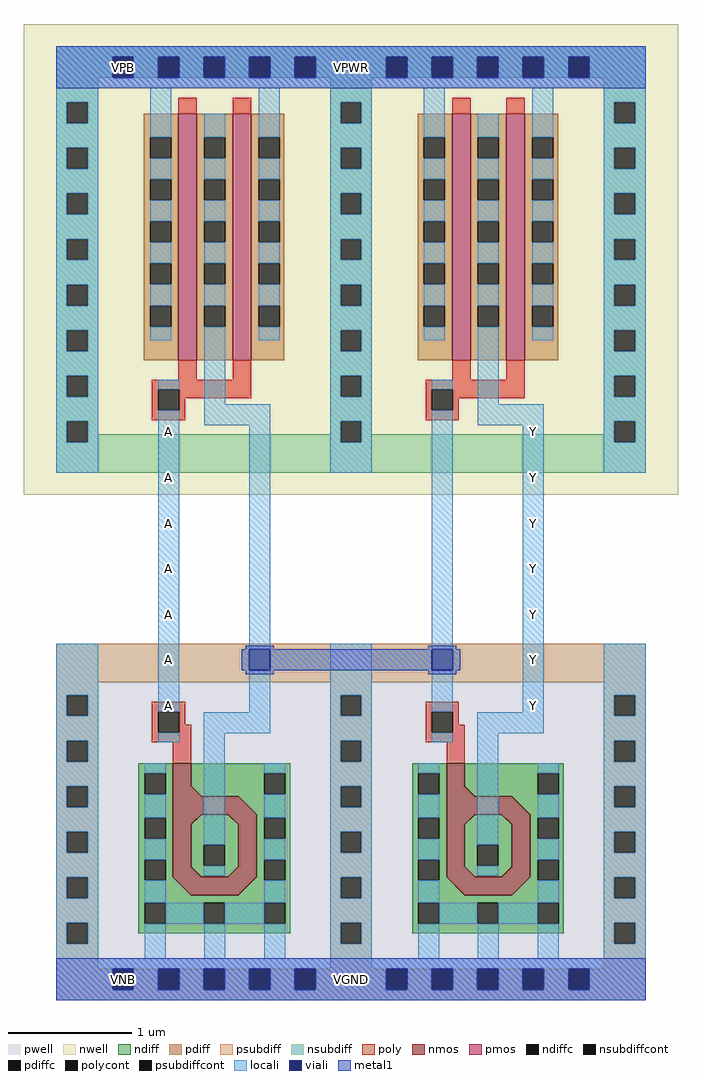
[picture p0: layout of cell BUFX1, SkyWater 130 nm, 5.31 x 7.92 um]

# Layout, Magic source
magic
tech sky130A
magscale 1 2
<< nwell >>
rect -87 786 975 1550
<< pwell >>
rect -34 -34 922 544
<< nmos >>
rect 155 297 185 350
tri 185 297 201 313 sw
rect 155 267 261 297
tri 261 267 291 297 sw
rect 155 166 185 267
tri 185 251 201 267 nw
tri 245 251 261 267 ne
tri 185 166 201 182 sw
tri 245 166 261 182 se
rect 261 166 291 267
tri 155 136 185 166 ne
rect 185 136 261 166
tri 261 136 291 166 nw
rect 599 297 629 350
tri 629 297 645 313 sw
rect 599 267 705 297
tri 705 267 735 297 sw
rect 599 166 629 267
tri 629 251 645 267 nw
tri 689 251 705 267 ne
tri 629 166 645 182 sw
tri 689 166 705 182 se
rect 705 166 735 267
tri 599 136 629 166 ne
rect 629 136 705 166
tri 705 136 735 166 nw
<< pmos >>
rect 164 1004 194 1404
rect 252 1004 282 1404
rect 608 1004 638 1404
rect 696 1004 726 1404
<< ndiff >>
rect 99 334 155 350
rect 99 300 109 334
rect 143 300 155 334
rect 99 262 155 300
rect 185 334 345 350
rect 185 313 303 334
tri 185 297 201 313 ne
rect 201 300 303 313
rect 337 300 345 334
rect 201 297 345 300
tri 261 267 291 297 ne
rect 99 228 109 262
rect 143 228 155 262
rect 99 194 155 228
rect 99 160 109 194
rect 143 160 155 194
tri 185 251 201 267 se
rect 201 251 245 267
tri 245 251 261 267 sw
rect 185 218 261 251
rect 185 184 205 218
rect 239 184 261 218
rect 185 182 261 184
tri 185 166 201 182 ne
rect 201 166 245 182
tri 245 166 261 182 nw
rect 291 262 345 297
rect 291 228 303 262
rect 337 228 345 262
rect 291 194 345 228
rect 99 136 155 160
tri 155 136 185 166 sw
tri 261 136 291 166 se
rect 291 160 303 194
rect 337 160 345 194
rect 291 136 345 160
rect 99 124 345 136
rect 99 90 109 124
rect 143 90 205 124
rect 239 90 303 124
rect 337 90 345 124
rect 99 74 345 90
rect 543 334 599 350
rect 543 300 553 334
rect 587 300 599 334
rect 543 262 599 300
rect 629 334 789 350
rect 629 313 747 334
tri 629 297 645 313 ne
rect 645 300 747 313
rect 781 300 789 334
rect 645 297 789 300
tri 705 267 735 297 ne
rect 543 228 553 262
rect 587 228 599 262
rect 543 194 599 228
rect 543 160 553 194
rect 587 160 599 194
tri 629 251 645 267 se
rect 645 251 689 267
tri 689 251 705 267 sw
rect 629 218 705 251
rect 629 184 649 218
rect 683 184 705 218
rect 629 182 705 184
tri 629 166 645 182 ne
rect 645 166 689 182
tri 689 166 705 182 nw
rect 735 262 789 297
rect 735 228 747 262
rect 781 228 789 262
rect 735 194 789 228
rect 543 136 599 160
tri 599 136 629 166 sw
tri 705 136 735 166 se
rect 735 160 747 194
rect 781 160 789 194
rect 735 136 789 160
rect 543 124 789 136
rect 543 90 553 124
rect 587 90 649 124
rect 683 90 747 124
rect 781 90 789 124
rect 543 74 789 90
<< pdiff >>
rect 108 1366 164 1404
rect 108 1332 118 1366
rect 152 1332 164 1366
rect 108 1298 164 1332
rect 108 1264 118 1298
rect 152 1264 164 1298
rect 108 1230 164 1264
rect 108 1196 118 1230
rect 152 1196 164 1230
rect 108 1162 164 1196
rect 108 1128 118 1162
rect 152 1128 164 1162
rect 108 1093 164 1128
rect 108 1059 118 1093
rect 152 1059 164 1093
rect 108 1004 164 1059
rect 194 1366 252 1404
rect 194 1332 206 1366
rect 240 1332 252 1366
rect 194 1298 252 1332
rect 194 1264 206 1298
rect 240 1264 252 1298
rect 194 1230 252 1264
rect 194 1196 206 1230
rect 240 1196 252 1230
rect 194 1162 252 1196
rect 194 1128 206 1162
rect 240 1128 252 1162
rect 194 1093 252 1128
rect 194 1059 206 1093
rect 240 1059 252 1093
rect 194 1004 252 1059
rect 282 1366 336 1404
rect 282 1332 294 1366
rect 328 1332 336 1366
rect 282 1298 336 1332
rect 282 1264 294 1298
rect 328 1264 336 1298
rect 282 1230 336 1264
rect 282 1196 294 1230
rect 328 1196 336 1230
rect 282 1162 336 1196
rect 282 1128 294 1162
rect 328 1128 336 1162
rect 282 1093 336 1128
rect 282 1059 294 1093
rect 328 1059 336 1093
rect 282 1004 336 1059
rect 552 1366 608 1404
rect 552 1332 562 1366
rect 596 1332 608 1366
rect 552 1298 608 1332
rect 552 1264 562 1298
rect 596 1264 608 1298
rect 552 1230 608 1264
rect 552 1196 562 1230
rect 596 1196 608 1230
rect 552 1162 608 1196
rect 552 1128 562 1162
rect 596 1128 608 1162
rect 552 1093 608 1128
rect 552 1059 562 1093
rect 596 1059 608 1093
rect 552 1004 608 1059
rect 638 1366 696 1404
rect 638 1332 650 1366
rect 684 1332 696 1366
rect 638 1298 696 1332
rect 638 1264 650 1298
rect 684 1264 696 1298
rect 638 1230 696 1264
rect 638 1196 650 1230
rect 684 1196 696 1230
rect 638 1162 696 1196
rect 638 1128 650 1162
rect 684 1128 696 1162
rect 638 1093 696 1128
rect 638 1059 650 1093
rect 684 1059 696 1093
rect 638 1004 696 1059
rect 726 1366 780 1404
rect 726 1332 738 1366
rect 772 1332 780 1366
rect 726 1298 780 1332
rect 726 1264 738 1298
rect 772 1264 780 1298
rect 726 1230 780 1264
rect 726 1196 738 1230
rect 772 1196 780 1230
rect 726 1162 780 1196
rect 726 1128 738 1162
rect 772 1128 780 1162
rect 726 1093 780 1128
rect 726 1059 738 1093
rect 772 1059 780 1093
rect 726 1004 780 1059
<< ndiffc >>
rect 109 300 143 334
rect 303 300 337 334
rect 109 228 143 262
rect 109 160 143 194
rect 205 184 239 218
rect 303 228 337 262
rect 303 160 337 194
rect 109 90 143 124
rect 205 90 239 124
rect 303 90 337 124
rect 553 300 587 334
rect 747 300 781 334
rect 553 228 587 262
rect 553 160 587 194
rect 649 184 683 218
rect 747 228 781 262
rect 747 160 781 194
rect 553 90 587 124
rect 649 90 683 124
rect 747 90 781 124
<< pdiffc >>
rect 118 1332 152 1366
rect 118 1264 152 1298
rect 118 1196 152 1230
rect 118 1128 152 1162
rect 118 1059 152 1093
rect 206 1332 240 1366
rect 206 1264 240 1298
rect 206 1196 240 1230
rect 206 1128 240 1162
rect 206 1059 240 1093
rect 294 1332 328 1366
rect 294 1264 328 1298
rect 294 1196 328 1230
rect 294 1128 328 1162
rect 294 1059 328 1093
rect 562 1332 596 1366
rect 562 1264 596 1298
rect 562 1196 596 1230
rect 562 1128 596 1162
rect 562 1059 596 1093
rect 650 1332 684 1366
rect 650 1264 684 1298
rect 650 1196 684 1230
rect 650 1128 684 1162
rect 650 1059 684 1093
rect 738 1332 772 1366
rect 738 1264 772 1298
rect 738 1196 772 1230
rect 738 1128 772 1162
rect 738 1059 772 1093
<< psubdiff >>
rect -34 482 922 544
rect -34 461 34 482
rect -34 427 -17 461
rect 17 427 34 461
rect 410 461 478 482
rect -34 387 34 427
rect -34 353 -17 387
rect 17 353 34 387
rect 410 427 427 461
rect 461 427 478 461
rect 854 461 922 482
rect -34 313 34 353
rect 410 387 478 427
rect 410 353 427 387
rect 461 353 478 387
rect 854 427 871 461
rect 905 427 922 461
rect -34 279 -17 313
rect 17 279 34 313
rect -34 239 34 279
rect -34 205 -17 239
rect 17 205 34 239
rect -34 165 34 205
rect -34 131 -17 165
rect 17 131 34 165
rect -34 91 34 131
rect -34 57 -17 91
rect 17 57 34 91
rect 410 313 478 353
rect 854 387 922 427
rect 854 353 871 387
rect 905 353 922 387
rect 410 279 427 313
rect 461 279 478 313
rect 410 239 478 279
rect 410 205 427 239
rect 461 205 478 239
rect 410 165 478 205
rect 410 131 427 165
rect 461 131 478 165
rect 410 91 478 131
rect -34 17 34 57
rect 410 57 427 91
rect 461 57 478 91
rect 854 313 922 353
rect 854 279 871 313
rect 905 279 922 313
rect 854 239 922 279
rect 854 205 871 239
rect 905 205 922 239
rect 854 165 922 205
rect 854 131 871 165
rect 905 131 922 165
rect 854 91 922 131
rect 410 17 478 57
rect 854 57 871 91
rect 905 57 922 91
rect 854 17 922 57
rect -34 -17 57 17
rect 91 -17 131 17
rect 165 -17 205 17
rect 239 -17 279 17
rect 313 -17 353 17
rect 387 -17 501 17
rect 535 -17 575 17
rect 609 -17 649 17
rect 683 -17 723 17
rect 757 -17 797 17
rect 831 -17 922 17
rect -34 -34 922 -17
<< nsubdiff >>
rect -34 1497 922 1514
rect -34 1463 57 1497
rect 91 1463 131 1497
rect 165 1463 205 1497
rect 239 1463 279 1497
rect 313 1463 353 1497
rect 387 1463 501 1497
rect 535 1463 575 1497
rect 609 1463 649 1497
rect 683 1463 723 1497
rect 757 1463 797 1497
rect 831 1463 922 1497
rect -34 1423 34 1463
rect -34 1389 -17 1423
rect 17 1389 34 1423
rect 410 1423 478 1463
rect -34 1349 34 1389
rect -34 1315 -17 1349
rect 17 1315 34 1349
rect -34 1275 34 1315
rect -34 1241 -17 1275
rect 17 1241 34 1275
rect -34 1201 34 1241
rect -34 1167 -17 1201
rect 17 1167 34 1201
rect -34 1127 34 1167
rect -34 1093 -17 1127
rect 17 1093 34 1127
rect -34 1053 34 1093
rect -34 1019 -17 1053
rect 17 1019 34 1053
rect -34 979 34 1019
rect 410 1389 427 1423
rect 461 1389 478 1423
rect 854 1423 922 1463
rect 410 1349 478 1389
rect 410 1315 427 1349
rect 461 1315 478 1349
rect 410 1275 478 1315
rect 410 1241 427 1275
rect 461 1241 478 1275
rect 410 1201 478 1241
rect 410 1167 427 1201
rect 461 1167 478 1201
rect 410 1127 478 1167
rect 410 1093 427 1127
rect 461 1093 478 1127
rect 410 1053 478 1093
rect 410 1019 427 1053
rect 461 1019 478 1053
rect -34 945 -17 979
rect 17 945 34 979
rect -34 905 34 945
rect 410 979 478 1019
rect 854 1389 871 1423
rect 905 1389 922 1423
rect 854 1349 922 1389
rect 854 1315 871 1349
rect 905 1315 922 1349
rect 854 1275 922 1315
rect 854 1241 871 1275
rect 905 1241 922 1275
rect 854 1201 922 1241
rect 854 1167 871 1201
rect 905 1167 922 1201
rect 854 1127 922 1167
rect 854 1093 871 1127
rect 905 1093 922 1127
rect 854 1053 922 1093
rect 854 1019 871 1053
rect 905 1019 922 1053
rect 410 945 427 979
rect 461 945 478 979
rect -34 871 -17 905
rect 17 884 34 905
rect 410 905 478 945
rect 854 979 922 1019
rect 854 945 871 979
rect 905 945 922 979
rect 410 884 427 905
rect 17 871 427 884
rect 461 884 478 905
rect 854 905 922 945
rect 854 884 871 905
rect 461 871 871 884
rect 905 871 922 905
rect -34 822 922 871
<< psubdiffcont >>
rect -17 427 17 461
rect -17 353 17 387
rect 427 427 461 461
rect 427 353 461 387
rect 871 427 905 461
rect -17 279 17 313
rect -17 205 17 239
rect -17 131 17 165
rect -17 57 17 91
rect 871 353 905 387
rect 427 279 461 313
rect 427 205 461 239
rect 427 131 461 165
rect 427 57 461 91
rect 871 279 905 313
rect 871 205 905 239
rect 871 131 905 165
rect 871 57 905 91
rect 57 -17 91 17
rect 131 -17 165 17
rect 205 -17 239 17
rect 279 -17 313 17
rect 353 -17 387 17
rect 501 -17 535 17
rect 575 -17 609 17
rect 649 -17 683 17
rect 723 -17 757 17
rect 797 -17 831 17
<< nsubdiffcont >>
rect 57 1463 91 1497
rect 131 1463 165 1497
rect 205 1463 239 1497
rect 279 1463 313 1497
rect 353 1463 387 1497
rect 501 1463 535 1497
rect 575 1463 609 1497
rect 649 1463 683 1497
rect 723 1463 757 1497
rect 797 1463 831 1497
rect -17 1389 17 1423
rect -17 1315 17 1349
rect -17 1241 17 1275
rect -17 1167 17 1201
rect -17 1093 17 1127
rect -17 1019 17 1053
rect 427 1389 461 1423
rect 427 1315 461 1349
rect 427 1241 461 1275
rect 427 1167 461 1201
rect 427 1093 461 1127
rect 427 1019 461 1053
rect -17 945 17 979
rect 871 1389 905 1423
rect 871 1315 905 1349
rect 871 1241 905 1275
rect 871 1167 905 1201
rect 871 1093 905 1127
rect 871 1019 905 1053
rect 427 945 461 979
rect -17 871 17 905
rect 871 945 905 979
rect 427 871 461 905
rect 871 871 905 905
<< poly >>
rect 164 1404 194 1430
rect 252 1404 282 1430
rect 608 1404 638 1430
rect 696 1404 726 1430
rect 164 973 194 1004
rect 252 973 282 1004
rect 121 957 282 973
rect 121 923 131 957
rect 165 943 282 957
rect 608 973 638 1004
rect 696 973 726 1004
rect 165 923 175 943
rect 121 907 175 923
rect 565 957 726 973
rect 565 923 575 957
rect 609 943 726 957
rect 609 923 619 943
rect 565 907 619 923
rect 121 434 175 450
rect 121 400 131 434
rect 165 413 175 434
rect 165 400 185 413
rect 121 384 185 400
rect 155 350 185 384
rect 565 434 619 450
rect 565 400 575 434
rect 609 413 619 434
rect 609 400 629 413
rect 565 384 629 400
rect 599 350 629 384
<< polycont >>
rect 131 923 165 957
rect 575 923 609 957
rect 131 400 165 434
rect 575 400 609 434
<< locali >>
rect -34 1497 922 1514
rect -34 1463 57 1497
rect 91 1463 131 1497
rect 165 1463 205 1497
rect 239 1463 279 1497
rect 313 1463 353 1497
rect 387 1463 501 1497
rect 535 1463 575 1497
rect 609 1463 649 1497
rect 683 1463 723 1497
rect 757 1463 797 1497
rect 831 1463 922 1497
rect -34 1446 922 1463
rect -34 1423 34 1446
rect -34 1389 -17 1423
rect 17 1389 34 1423
rect -34 1349 34 1389
rect -34 1315 -17 1349
rect 17 1315 34 1349
rect -34 1275 34 1315
rect -34 1241 -17 1275
rect 17 1241 34 1275
rect -34 1201 34 1241
rect -34 1167 -17 1201
rect 17 1167 34 1201
rect -34 1127 34 1167
rect -34 1093 -17 1127
rect 17 1093 34 1127
rect -34 1053 34 1093
rect -34 1019 -17 1053
rect 17 1019 34 1053
rect 118 1366 152 1446
rect 118 1298 152 1332
rect 118 1230 152 1264
rect 118 1162 152 1196
rect 118 1093 152 1128
rect 118 1037 152 1059
rect 206 1366 240 1404
rect 206 1298 240 1332
rect 206 1230 240 1264
rect 206 1162 240 1196
rect 206 1093 240 1128
rect -34 979 34 1019
rect -34 945 -17 979
rect 17 945 34 979
rect -34 905 34 945
rect -34 871 -17 905
rect 17 871 34 905
rect -34 822 34 871
rect 131 957 165 973
rect -34 461 34 544
rect -34 427 -17 461
rect 17 427 34 461
rect -34 387 34 427
rect -34 353 -17 387
rect 17 353 34 387
rect 131 434 165 923
rect 206 933 240 1059
rect 294 1366 328 1446
rect 294 1298 328 1332
rect 294 1230 328 1264
rect 294 1162 328 1196
rect 294 1093 328 1128
rect 294 1037 328 1059
rect 410 1423 478 1446
rect 410 1389 427 1423
rect 461 1389 478 1423
rect 410 1349 478 1389
rect 410 1315 427 1349
rect 461 1315 478 1349
rect 410 1275 478 1315
rect 410 1241 427 1275
rect 461 1241 478 1275
rect 410 1201 478 1241
rect 410 1167 427 1201
rect 461 1167 478 1201
rect 410 1127 478 1167
rect 410 1093 427 1127
rect 461 1093 478 1127
rect 410 1053 478 1093
rect 410 1019 427 1053
rect 461 1019 478 1053
rect 562 1366 596 1446
rect 562 1298 596 1332
rect 562 1230 596 1264
rect 562 1162 596 1196
rect 562 1093 596 1128
rect 562 1037 596 1059
rect 650 1366 684 1404
rect 650 1298 684 1332
rect 650 1230 684 1264
rect 650 1162 684 1196
rect 650 1093 684 1128
rect 410 979 478 1019
rect 410 945 427 979
rect 461 945 478 979
rect 206 899 313 933
rect 279 535 313 899
rect 410 905 478 945
rect 410 871 427 905
rect 461 871 478 905
rect 410 822 478 871
rect 575 957 609 973
rect 279 433 313 501
rect 131 384 165 400
rect 205 399 313 433
rect 410 461 478 544
rect 410 427 427 461
rect 461 427 478 461
rect -34 313 34 353
rect -34 279 -17 313
rect 17 279 34 313
rect -34 239 34 279
rect -34 205 -17 239
rect 17 205 34 239
rect -34 165 34 205
rect -34 131 -17 165
rect 17 131 34 165
rect -34 91 34 131
rect -34 57 -17 91
rect 17 57 34 91
rect -34 34 34 57
rect 109 334 143 350
rect 109 262 143 300
rect 109 194 143 228
rect 205 218 239 399
rect 410 387 478 427
rect 410 353 427 387
rect 461 353 478 387
rect 575 535 609 923
rect 650 933 684 1059
rect 738 1366 772 1446
rect 738 1298 772 1332
rect 738 1230 772 1264
rect 738 1162 772 1196
rect 738 1093 772 1128
rect 738 1037 772 1059
rect 854 1423 922 1446
rect 854 1389 871 1423
rect 905 1389 922 1423
rect 854 1349 922 1389
rect 854 1315 871 1349
rect 905 1315 922 1349
rect 854 1275 922 1315
rect 854 1241 871 1275
rect 905 1241 922 1275
rect 854 1201 922 1241
rect 854 1167 871 1201
rect 905 1167 922 1201
rect 854 1127 922 1167
rect 854 1093 871 1127
rect 905 1093 922 1127
rect 854 1053 922 1093
rect 854 1019 871 1053
rect 905 1019 922 1053
rect 854 979 922 1019
rect 854 945 871 979
rect 905 945 922 979
rect 650 899 757 933
rect 575 434 609 501
rect 723 433 757 899
rect 854 905 922 945
rect 854 871 871 905
rect 905 871 922 905
rect 854 822 922 871
rect 575 384 609 400
rect 649 399 757 433
rect 854 461 922 544
rect 854 427 871 461
rect 905 427 922 461
rect 205 168 239 184
rect 303 334 337 350
rect 303 262 337 300
rect 303 194 337 228
rect 109 124 143 160
rect 303 124 337 160
rect 143 90 205 124
rect 239 90 303 124
rect 109 34 143 90
rect 206 34 240 90
rect 303 34 337 90
rect 410 313 478 353
rect 410 279 427 313
rect 461 279 478 313
rect 410 239 478 279
rect 410 205 427 239
rect 461 205 478 239
rect 410 165 478 205
rect 410 131 427 165
rect 461 131 478 165
rect 410 91 478 131
rect 410 57 427 91
rect 461 57 478 91
rect 410 34 478 57
rect 553 334 587 350
rect 553 262 587 300
rect 553 194 587 228
rect 649 218 683 399
rect 854 387 922 427
rect 854 353 871 387
rect 905 353 922 387
rect 649 168 683 184
rect 747 334 781 350
rect 747 262 781 300
rect 747 194 781 228
rect 553 124 587 160
rect 747 124 781 160
rect 587 90 649 124
rect 683 90 747 124
rect 553 34 587 90
rect 650 34 684 90
rect 747 34 781 90
rect 854 313 922 353
rect 854 279 871 313
rect 905 279 922 313
rect 854 239 922 279
rect 854 205 871 239
rect 905 205 922 239
rect 854 165 922 205
rect 854 131 871 165
rect 905 131 922 165
rect 854 91 922 131
rect 854 57 871 91
rect 905 57 922 91
rect 854 34 922 57
rect -34 17 922 34
rect -34 -17 57 17
rect 91 -17 131 17
rect 165 -17 205 17
rect 239 -17 279 17
rect 313 -17 353 17
rect 387 -17 501 17
rect 535 -17 575 17
rect 609 -17 649 17
rect 683 -17 723 17
rect 757 -17 797 17
rect 831 -17 922 17
rect -34 -34 922 -17
<< viali >>
rect 57 1463 91 1497
rect 131 1463 165 1497
rect 205 1463 239 1497
rect 279 1463 313 1497
rect 353 1463 387 1497
rect 501 1463 535 1497
rect 575 1463 609 1497
rect 649 1463 683 1497
rect 723 1463 757 1497
rect 797 1463 831 1497
rect 279 501 313 535
rect 575 501 609 535
rect 57 -17 91 17
rect 131 -17 165 17
rect 205 -17 239 17
rect 279 -17 313 17
rect 353 -17 387 17
rect 501 -17 535 17
rect 575 -17 609 17
rect 649 -17 683 17
rect 723 -17 757 17
rect 797 -17 831 17
<< metal1 >>
rect -34 1497 922 1514
rect -34 1463 57 1497
rect 91 1463 131 1497
rect 165 1463 205 1497
rect 239 1463 279 1497
rect 313 1463 353 1497
rect 387 1463 501 1497
rect 535 1463 575 1497
rect 609 1463 649 1497
rect 683 1463 723 1497
rect 757 1463 797 1497
rect 831 1463 922 1497
rect -34 1446 922 1463
rect 273 535 319 541
rect 569 535 615 541
rect 267 501 279 535
rect 313 501 575 535
rect 609 501 621 535
rect 273 495 319 501
rect 569 495 615 501
rect -34 17 922 34
rect -34 -17 57 17
rect 91 -17 131 17
rect 165 -17 205 17
rect 239 -17 279 17
rect 313 -17 353 17
rect 387 -17 501 17
rect 535 -17 575 17
rect 609 -17 649 17
rect 683 -17 723 17
rect 757 -17 797 17
rect 831 -17 922 17
rect -34 -34 922 -17
<< labels >>
rlabel metal1 723 427 757 461 1 Y
port 1 n
rlabel metal1 723 501 757 535 1 Y
port 2 n
rlabel metal1 723 575 757 609 1 Y
port 3 n
rlabel metal1 723 649 757 683 1 Y
port 4 n
rlabel metal1 723 723 757 757 1 Y
port 5 n
rlabel metal1 723 797 757 831 1 Y
port 6 n
rlabel metal1 723 871 757 905 1 Y
port 7 n
rlabel metal1 131 427 165 461 1 A
port 8 n
rlabel metal1 131 501 165 535 1 A
port 9 n
rlabel metal1 131 575 165 609 1 A
port 10 n
rlabel metal1 131 649 165 683 1 A
port 11 n
rlabel metal1 131 723 165 757 1 A
port 12 n
rlabel metal1 131 797 165 831 1 A
port 13 n
rlabel metal1 131 871 165 905 1 A
port 14 n
rlabel metal1 -34 1446 922 1514 1 VPWR
port 15 n
rlabel metal1 -34 -34 922 34 1 VGND
port 16 n
rlabel nwell 57 1463 91 1497 1 VPB
port 17 n
rlabel pwell 57 -17 91 17 1 VNB
port 18 n
<< end >>
